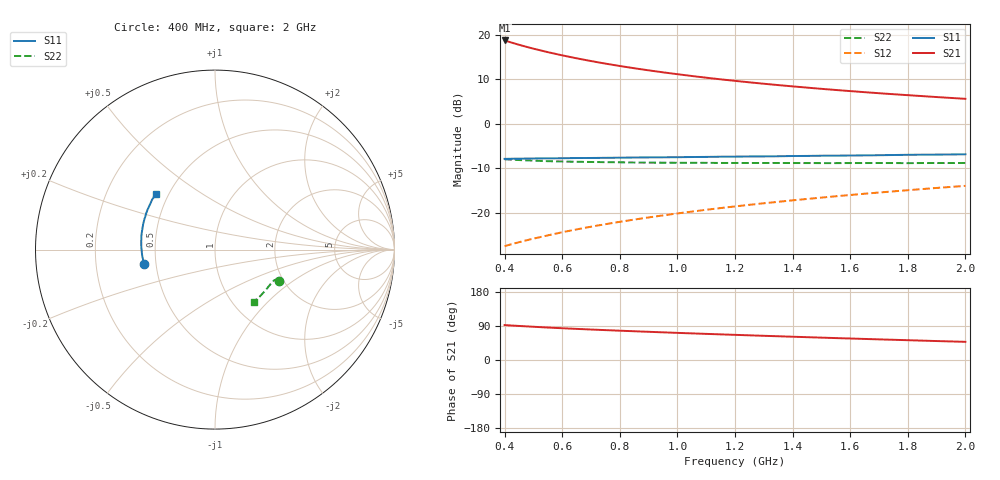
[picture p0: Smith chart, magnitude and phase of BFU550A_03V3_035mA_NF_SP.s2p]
! Filename:  P:\Prog\Test\Noise\ATS_data\Testdata_Net\06 Compressed Noise after Statistics\BFU550A_APG2013_35_C05_03p3V_035mA_NF_CM01_D.sf
! Date/Time: Tue 16/Apr/2013 15:11:26
! BFU550A_APG2013_35_C05_03p3V_1to35mA_NF_CM01_Bias8_R.sf
! Noise Parameter Data File
! BFU550A_APG2013_35_C05_03p3V_1to35mA_NF_CM01
! Date/time: Mon Apr 15 15:23:40 2013
! VAR V_out= 3.300000
! VAR I_out= 35.000000
! VAR V_in= 0.854900
! VAR I_in= 0.416650
! Device data file deembeded for feedlines and parallel
! Original file: \06 Compressed Noise after Statistics\BFU550A_APG2013_35_C05_03p3V_035mA_NF_CM01_R.sf
! Feed-files: PR017V01_150413_Feed1.s2p, PR017V01_150413_Feed2.s2p
! Parallel-file: PR017V01_150413_Par.s2p
# MHz S MA R 50
!  Freq-MHz  S11-mag  S11-arg  S21-mag  S21-arg  S12-mag  S12-arg  S22-mag  S22-arg
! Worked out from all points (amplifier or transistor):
!   37 points, 400 MHz to 2 GHz, reference 50 ohm
!   highest |S21| = 18.8 dB at 400 MHz (marker M1)
!   |S21| within 3 dB of that: start of sweep to 575.5 MHz
!   unconditionally stable (mu >= 1): 427 MHz to 1.575 GHz
!   at 500 MHz: K = 1.02, MAG = 20.6 dB, |S12| = -25.9 dB
!   at 1.1 GHz: K = 1.03, MAG = 13.7 dB, |S12| = -19.4 dB
!   at 2 GHz: K = 0.96, MSG = 9.8 dB, |S12| = -14.0 dB
!   lowest NFmin = 1.39 dB at 420 MHz
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400  0.4027 -168.5  8.667 92.2  0.04189 73.2  0.3984 -26.2
420  0.4037 -169.9  8.276 91.2  0.04371 73.5  0.3948 -26.2
440  0.4047 -171.3  7.918 90.3  0.04551 73.8  0.3919 -26.1
460  0.405 -172.6  7.588 89.4  0.04732 74.1  0.3893 -26.1
480  0.4061 -173.7  7.286 88.5  0.04913 74.3  0.3866 -26.1
500  0.4067 -175.0  7.007 87.7  0.05093 74.6  0.3848 -26.1
550  0.408 -177.8  6.401 85.7  0.05541 75.2  0.379 -26.2
600  0.4092 179.8  5.892 83.8  0.06011 75.5  0.376 -26.6
650  0.4112 177.5  5.456 82.1  0.0647 75.8  0.3735 -27.1
700  0.4121 175.3  5.082 80.4  0.06936 76.0  0.3714 -27.6
750  0.4138 173.3  4.755 78.9  0.07405 76.2  0.3696 -28.1
800  0.415 171.4  4.471 77.3  0.07875 76.3  0.3684 -28.9
850  0.4171 169.5  4.219 75.8  0.08344 76.4  0.3663 -29.6
950  0.4194 166.0  3.795 73.0  0.09299 76.5  0.3647 -31.2
1050  0.4222 162.7  3.449 70.2  0.1027 76.4  0.3636 -32.9
1150  0.4258 159.6  3.165 67.7  0.1124 76.2  0.3622 -34.7
1200  0.4267 158.0  3.041 66.4  0.1174 76.0  0.3622 -35.8
1350  0.4307 153.7  2.725 62.6  0.1323 75.5  0.3619 -38.8
1500  0.4368 149.4  2.473 59.0  0.1475 74.8  0.3607 -42.0
1600  0.4392 146.7  2.332 56.7  0.1578 74.2  0.3612 -44.2
1750  0.4449 142.9  2.151 53.4  0.1734 73.4  0.3612 -47.5
2000  0.4534 136.7  1.909 48.0  0.2 71.6  0.3619 -53.5
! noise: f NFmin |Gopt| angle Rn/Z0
400  1.42  0.4174  -166.2  0.0792
460  1.433  0.426  -164.1  0.0781
600  1.572  0.4345  -159.5  0.0869
800  1.57  0.4761  -153.5  0.0915
1000  1.631  0.4896  -148.1  0.1105
1200  1.779  0.5245  -142  0.1317
1400  1.861  0.5574  -136.2  0.1646
1600  1.966  0.5803  -129.4  0.216
1800  2.052  0.6137  -127.7  0.2404
2000  2.137  0.6331  -121.2  0.3165
